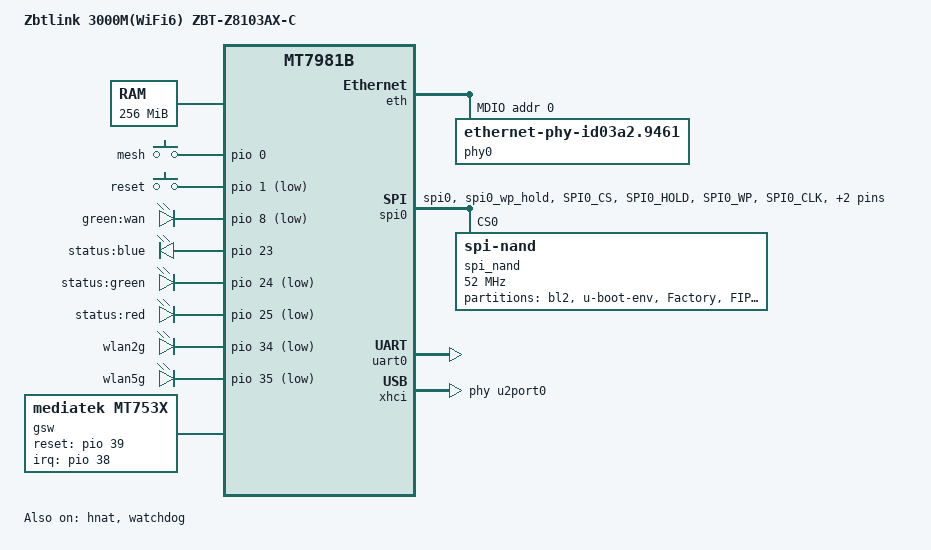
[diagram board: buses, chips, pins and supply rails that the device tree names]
// SPDX-License-Identifier: GPL-2.0-or-later OR MIT

/dts-v1/;

#include "mt7981.dtsi"

/ {
	model = "Zbtlink 3000M(WiFi6) ZBT-Z8103AX-C";
	compatible = "zbtlink,zbt-z8103ax-c", "mediatek,mt7981b";

	aliases {
		led-boot = &led_status_green;
		led-failsafe = &led_status_red;
		led-running = &led_status_green;
		led-upgrade = &led_status_green;
	};

	chosen: chosen {
		bootargs = "console=ttyS0,115200n1 loglevel=8 earlycon=uart8250,mmio32,0x11002000";
	};

	memory {
		reg = <0 0x40000000 0 0x10000000>;
	};

	gpio-keys {
		compatible = "gpio-keys";

		button-mesh {
			label = "mesh";
			linux,code = <BTN_0>;
			linux,input-type = <EV_SW>;
			gpios = <&pio 0 GPIO_ACTIVE_HIGH>;
		};

		button-reset {
			label = "reset";
			linux,code = <KEY_RESTART>;
			gpios = <&pio 1 GPIO_ACTIVE_LOW>;
		};
	};

	gpio-leds {
		compatible = "gpio-leds";

		led-wan {
			label = "green:wan";
			gpios = <&pio 8 GPIO_ACTIVE_LOW>;
		};

		led-status-blue {
			label = "status:blue";
			gpios = <&pio 23 GPIO_ACTIVE_HIGH>;
		};

		led_status_green: led-status-green {
			label = "status:green";
			gpios = <&pio 24 GPIO_ACTIVE_LOW>;
		};

		led_status_red: led-status-red {
			label = "status:red";
			gpios = <&pio 25 GPIO_ACTIVE_LOW>;
		};

		led-wlan2g {
			label = "wlan2g";
			gpios = <&pio 34 GPIO_ACTIVE_LOW>;
		};

		led-wlan5g {
			label = "wlan5g";
			gpios = <&pio 35 GPIO_ACTIVE_LOW>;
		};
	};

	gsw: gsw@0 {
		compatible = "mediatek,mt753x";
		mediatek,ethsys = <&ethsys>;
		#address-cells = <1>;
		#size-cells = <0>;
	};
};

&eth {
	status = "okay";

	gmac0: mac@0 {
		compatible = "mediatek,eth-mac";
		reg = <0>;
		phy-mode = "2500base-x";

		fixed-link {
			speed = <2500>;
			full-duplex;
			pause;
		};
	};

	gmac1: mac@1 {
		compatible = "mediatek,eth-mac";
		reg = <1>;
		phy-mode = "gmii";
		phy-handle = <&phy0>;
	};

	mdio: mdio-bus {
		#address-cells = <1>;
		#size-cells = <0>;

		phy0: ethernet-phy@0 {
			compatible = "ethernet-phy-id03a2.9461";
			reg = <0>;
			phy-mode = "gmii";
			nvmem-cells = <&phy_calibration>;
			nvmem-cell-names = "phy-cal-data";
		};
	};
};

&gsw {
	mediatek,mdio = <&mdio>;
	mediatek,mdio_master_pinmux = <0>;
	reset-gpios = <&pio 39 0>;
	interrupt-parent = <&pio>;
	interrupts = <38 IRQ_TYPE_LEVEL_HIGH>;
	status = "okay";

	port6: port@6 {
		compatible = "mediatek,mt753x-port";
		mediatek,ssc-on;
		reg = <6>;
		phy-mode = "sgmii";

		fixed-link {
			speed = <2500>;
			full-duplex;
		};
	};
};

&hnat {
	mtketh-wan = "eth1";
	mtketh-lan = "eth0";
	mtketh-max-gmac = <2>;
	status = "okay";
};

&spi0 {
	pinctrl-names = "default";
	pinctrl-0 = <&spi0_flash_pins>;
	status = "okay";

	spi_nand: spi_nand@0 {
		compatible = "spi-nand";
		#address-cells = <1>;
		#size-cells = <1>;
		reg = <0>;

		spi-max-frequency = <52000000>;
		
		spi-tx-bus-width = <4>;
		spi-rx-bus-width = <4>;

		partitions: partitions {
			compatible = "fixed-partitions";
			#address-cells = <1>;
			#size-cells = <1>;

			partition@0 {
				label = "bl2";
				reg = <0x0000000 0x0100000>;
				read-only;
			};

			partition@100000 {
				label = "u-boot-env";
				reg = <0x100000 0x80000>;
			};

			partition@180000 {
				label = "Factory";
				reg = <0x180000 0x200000>;
				read-only;
			};

			partition@380000 {
				label = "FIP";
				reg = <0x380000 0x200000>;
				read-only;
			};

			partition@580000 {
				label = "ubi";
				reg = <0x580000 0x7280000>;
			};
		};
	};
};

&pio {
	spi0_flash_pins: spi0-pins {
		mux {
			function = "spi";
			groups = "spi0", "spi0_wp_hold";
		};

		conf-pu {
			pins = "SPI0_CS", "SPI0_HOLD", "SPI0_WP";
			drive-strength = <8>;
			bias-pull-up = <103>;
		};

		conf-pd {
			pins = "SPI0_CLK", "SPI0_MOSI", "SPI0_MISO";
			drive-strength = <8>;
			bias-pull-down = <103>;
		};
	};
};

&uart0 {
	status = "okay";
};

&watchdog {
	status = "okay";
};

&xhci {
	phys = <&u2port0 PHY_TYPE_USB2>;
	mediatek,u3p-dis-msk = <0x1>;
	status = "okay";
};
